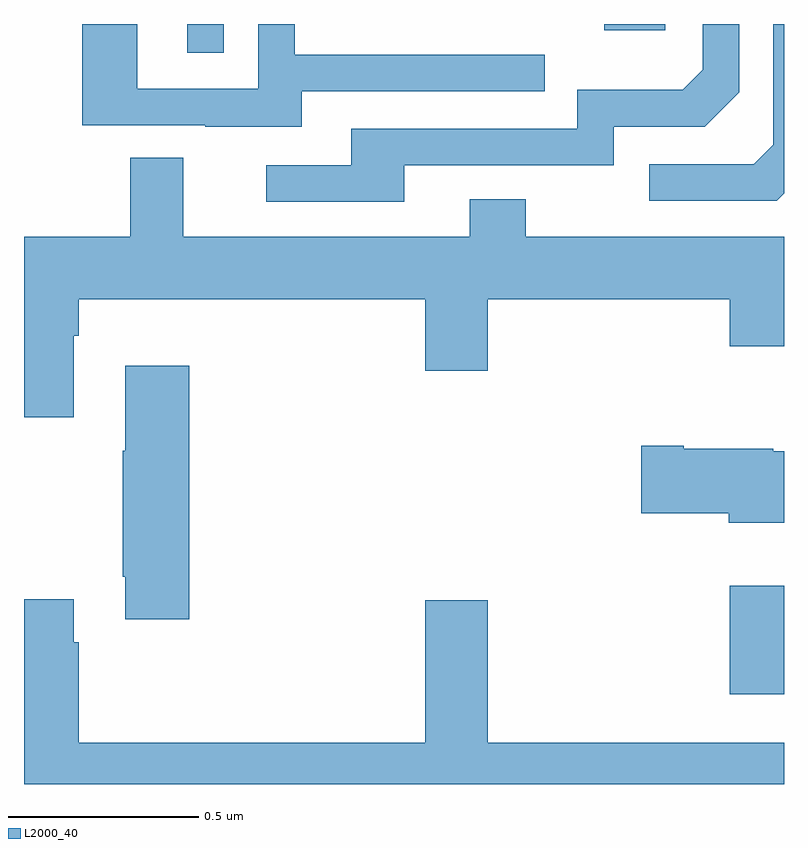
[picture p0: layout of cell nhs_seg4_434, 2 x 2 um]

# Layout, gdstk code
import gdstk
lib = gdstk.Library(unit=1e-6, precision=1e-09)
def R(c, l, rs):  # rectangles x0, y0, x1, y1
    for r in rs: c.add(gdstk.rectangle(r[:2], r[2:], *l))
def P(c, l, *ps):  # polygons
    for p in ps: c.add(gdstk.Polygon(p, *l))
L2000_40 = (2000, 40)

nhs_seg4_434 = lib.new_cell('nhs_seg4_434')
R(nhs_seg4_434, L2000_40, [(117.857,773.136,118,773.422), (116.429,774.825,116.526,774.9), (117.527,774.884,117.688,774.9)])
P(nhs_seg4_434, L2000_40, [(117.001,774.528),(117.552,774.528),(117.552,774.63),(117.792,774.63),(117.882,774.72),(117.882,774.9),(117.786,774.9),(117.786,774.78),(117.733,774.727),(117.456,774.727),(117.456,774.624),(116.861,774.624),(116.861,774.528),(116.637,774.528),(116.637,774.432),(117.001,774.432)],
  [(118,774.454),(118,774.9),(117.972,774.9),(117.972,774.582),(117.921,774.531),(117.645,774.531),(117.645,774.435),(117.981,774.435)],
  [(116.731,774.723),(117.371,774.723),(117.371,774.819),(116.712,774.819),(116.712,774.9),(116.616,774.9),(116.616,774.729),(116.298,774.729),(116.298,774.9),(116.153,774.9),(116.153,774.633),(116.477,774.633),(116.477,774.629),(116.731,774.629)],
  [(116.131,774.08),(116.144,774.08),(116.144,774.176),(117.056,774.176),(117.056,773.988),(117.22,773.988),(117.22,774.176),(117.857,774.176),(117.857,774.052),(118,774.052),(118,774.34),(117.321,774.34),(117.321,774.439),(117.173,774.439),(117.173,774.34),(116.419,774.34),(116.419,774.548),(116.279,774.548),(116.279,774.34),(116,774.34),(116,773.865),(116.131,773.865)],
  [(116.435,774.001),(116.267,774.001),(116.267,773.777),(116.26,773.777),(116.26,773.446),(116.267,773.446),(116.267,773.334),(116.435,773.334)],
  [(118,773.776),(117.972,773.776),(117.972,773.782),(117.736,773.782),(117.736,773.79),(117.624,773.79),(117.624,773.612),(117.854,773.612),(117.854,773.588),(118,773.588)],
  [(118,773.008),(117.22,773.008),(117.22,773.383),(117.056,773.383),(117.056,773.008),(116.144,773.008),(116.144,773.273),(116.131,773.273),(116.131,773.386),(116,773.386),(116,772.9),(118,772.9)])

lib.write_gds('nhs_seg4_434.gds')
